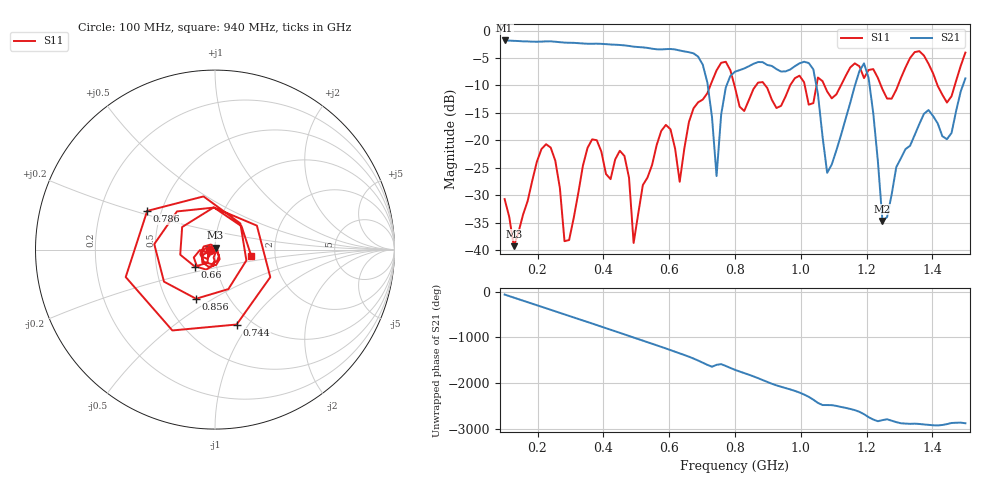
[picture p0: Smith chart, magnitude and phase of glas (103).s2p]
! NanoVNA-App
! Date: 2025-09-26 09:38:54
! Start: 100MHz Stop: 1,5GHz Points: 101
! S-Parameter data: F S11 S21 S12 S22
# Hz S RI R 50
!  Frequency  S11_Real  S11_Imag  S21_Real  S21_Imag  S12_Real  S12_Imag  S22_Real  S22_Imag
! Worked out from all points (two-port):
!   101 points, 100 MHz to 1.5 GHz, reference 50 ohm
!   highest |S21| = -1.79 dB at 100 MHz (marker M1); lowest = -34.7 dB at 1.248 GHz (marker M2)
!   |S21| within 3 dB of the highest: start of sweep to 688.4 MHz
!   lowest |S11| = -39.3 dB at 128 MHz (marker M3), VSWR 1.02, Z = 50.3 + j1.05 ohm
!   |S11| at or under -10 dB: start of sweep to 725.2 MHz; 798.4 MHz to 863.8 MHz (65.42 MHz wide, 7.87 % of centre); 892.1 MHz to 967.4 MHz (75.29 MHz wide, 8.1 % of centre)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
!   S12 and S22 are empty: the file has one direction only
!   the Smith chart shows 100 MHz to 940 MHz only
!   S11 on the Smith chart (normalised r, x): 100 MHz: 0.94, -0.01; 660 MHz: 0.79, -0.15; 744 MHz: 0.86, -0.88; 786 MHz: 0.42, +0.22; 856 MHz: 0.70, -0.42; 940 MHz: 1.50, -0.12
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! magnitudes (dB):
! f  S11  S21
! 100 MHz  -30.7  -1.8
! 128 MHz  -39.3  -1.9
! 212 MHz  -21.6  -2.0
! 282 MHz  -38.4  -2.2
! 338 MHz  -24.6  -2.3
! 464 MHz  -22.8  -2.7
! 492 MHz  -38.7  -2.9
! 576 MHz  -18.3  -3.4
! 632 MHz  -27.6  -3.6
! 660 MHz  -16.7  -3.9
! 716 MHz  -11.4  -9.5
! 744 MHz  -7.2  -26.5
! 786 MHz  -7.2  -8.2
! 800 MHz  -10.4  -7.5
! 856 MHz  -10.6  -6.1
! 940 MHz  -13.7  -7.5
! 1.038 GHz  -13.2  -7.1
! 1.08 GHz  -11.1  -25.9
! 1.192 GHz  -8.7  -6.0
! 1.248 GHz  -10.7  -34.7
! 1.276 GHz  -12.4  -29.9
! 1.5 GHz  -4.0  -8.7
